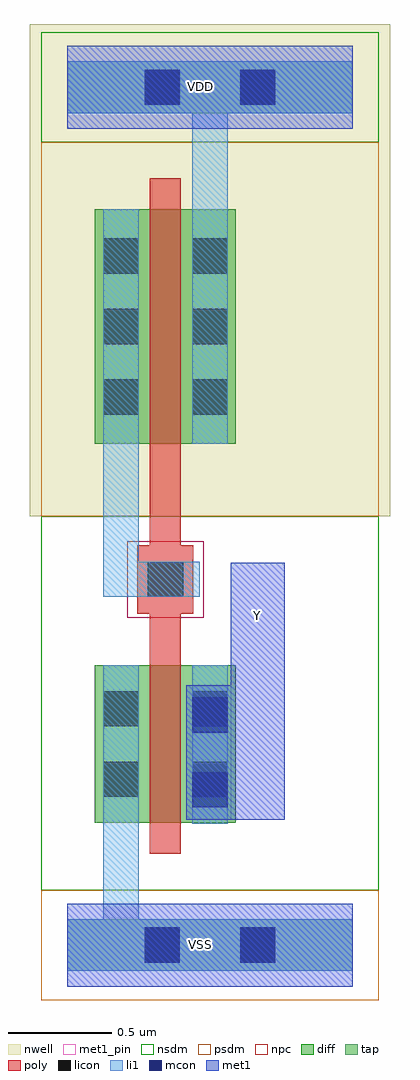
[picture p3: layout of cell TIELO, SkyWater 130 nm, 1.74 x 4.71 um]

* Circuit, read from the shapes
.subckt TIELO VDD VSS Y
XM1 Y n1 VSS VSS sky130_fd_pr__nfet_01v8 w=0.76 l=0.15
XM2 VDD n1 n1 VDD sky130_fd_pr__pfet_01v8 w=1.13 l=0.15
.ends

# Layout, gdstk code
from math import pi, radians
import gdstk
lib = gdstk.Library(unit=1e-6, precision=1e-09)
def R(c, l, rs):  # rectangles x0, y0, x1, y1
    for r in rs: c.add(gdstk.rectangle(r[:2], r[2:], *l))
def A(c, l, x, y, w, h, nx, ny, dx, dy):  # array of equal rectangles
    R(c, l, [(x+i*dx, y+j*dy, x+i*dx+w, y+j*dy+h) for i in range(nx) for j in range(ny)])
def P(c, l, *ps):  # polygons
    for p in ps: c.add(gdstk.Polygon(p, *l))
nwell = (64, 20)
diff = (65, 20)
tap = (65, 44)
poly = (66, 20)
licon = (66, 44)
li1 = (67, 20)
mcon = (67, 44)
met1_pin = (68, 16)
met1 = (68, 20)
nsdm = (93, 44)
psdm = (94, 20)
npc = (95, 20)

l1m1_c_cdns_751554744752 = lib.new_cell('L1M1_C_CDNS_751554744752')
R(l1m1_c_cdns_751554744752, li1, [(-0.085,-0.345,0.085,0.345)])
R(l1m1_c_cdns_751554744752, mcon, [(-0.085,-0.265,0.085,-0.095), (-0.085,0.095,0.085,0.265)])
R(l1m1_c_cdns_751554744752, met1, [(-0.115,-0.325,0.115,0.325)])

pyl1con_c_cdns_751554744 = lib.new_cell('PYL1CON_C_CDNS_751554744751')
R(pyl1con_c_cdns_751554744, poly, [(-0.135,-0.165,0.135,0.165)])
R(pyl1con_c_cdns_751554744, licon, [(-0.085,-0.085,0.085,0.085)])
R(pyl1con_c_cdns_751554744, npc, [(-0.185,-0.185,0.185,0.185)])

tielo = lib.new_cell('TIELO')
R(tielo, nwell, [(-0.18,2.07,1.56,4.445)])
R(tielo, diff, [(0.135,0.59,0.815,1.35), (0.135,2.42,0.815,3.55)])
R(tielo, poly, [(0.4,0.44,0.55,3.7)])
A(tielo, licon, 0.175, 2.56, 0.17, 0.17, 1, 3, 0, 0.34)
A(tielo, licon, 0.605, 2.56, 0.17, 0.17, 1, 3, 0, 0.34)
R(tielo, licon, [(0.375,-0.085,0.545,0.085), (0.835,-0.085,1.005,0.085), (0.175,0.715,0.345,0.885), (0.605,0.715,0.775,0.885), (0.175,1.055,0.345,1.225), (0.605,1.055,0.775,1.225), (0.375,4.055,0.545,4.225), (0.835,4.055,1.005,4.225)])
R(tielo, li1, [(0.605,0.59,0.775,1.35)])
P(tielo, li1, [(0.64,1.85),(0.345,1.85),(0.345,3.55),(0.175,3.55),(0.175,1.68),(0.64,1.68)],
  [(1.38,4.265),(0,4.265),(0,4.015),(0.605,4.015),(0.605,2.42),(0.775,2.42),(0.775,4.015),(1.38,4.015)],
  [(1.38,0.125),(0.345,0.125),(0.345,1.35),(0.175,1.35),(0.175,0.125),(0,0.125),(0,-0.125),(1.38,-0.125)])
R(tielo, mcon, [(0.375,-0.085,0.545,0.085), (0.835,-0.085,1.005,0.085), (0.375,4.055,0.545,4.225), (0.835,4.055,1.005,4.225)])
R(tielo, met1_pin, [(0.79,0.605,1.05,1.845)])
R(tielo, nsdm, [(-0.125,0.265,1.505,2.07), (-0.125,3.875,1.505,4.405)])
R(tielo, psdm, [(-0.125,-0.265,1.505,0.265), (-0.125,2.07,1.505,3.875)])
tielo.add(gdstk.FlexPath([(0,4.14),(1.38,4.14)], 0.4, ends="flush", simple_path=True, layer=68, datatype=20))  # met1
tielo.add(gdstk.FlexPath([(0,0),(1.38,0)], 0.4, ends="flush", simple_path=True, layer=68, datatype=20))  # met1
tielo.add(gdstk.FlexPath([(0.92,1.845),(0.92,0.605)], 0.26, ends="flush", simple_path=True, layer=68, datatype=20))  # met1
tielo.add(gdstk.FlexPath([(0,4.14),(1.38,4.14)], 0.25, ends="flush", simple_path=True, layer=65, datatype=44))  # tap
tielo.add(gdstk.FlexPath([(0,0),(1.38,0)], 0.25, ends="flush", simple_path=True, layer=65, datatype=44))  # tap
tielo.add(gdstk.FlexPath([(0,4.14),(1.38,4.14)], 0.4, ends="flush", simple_path=True, layer=68, datatype=16))  # met1_pin
tielo.add(gdstk.FlexPath([(0,0),(1.38,0)], 0.4, ends="flush", simple_path=True, layer=68, datatype=16))  # met1_pin
tielo.add(gdstk.Reference(l1m1_c_cdns_751554744752, (0.69,0.93)))
tielo.add(gdstk.Reference(pyl1con_c_cdns_751554744, (0.475,1.765), rotation=pi, x_reflection=True))
tielo.add(gdstk.Label('VDD', (0.645,4.145), layer=68, texttype=5))
tielo.add(gdstk.Label('VSS', (0.645,0.005), layer=68, texttype=5))
tielo.add(gdstk.Label('Y', (0.92,1.59), layer=68, texttype=5))

lib.write_gds('TIELO.gds')
